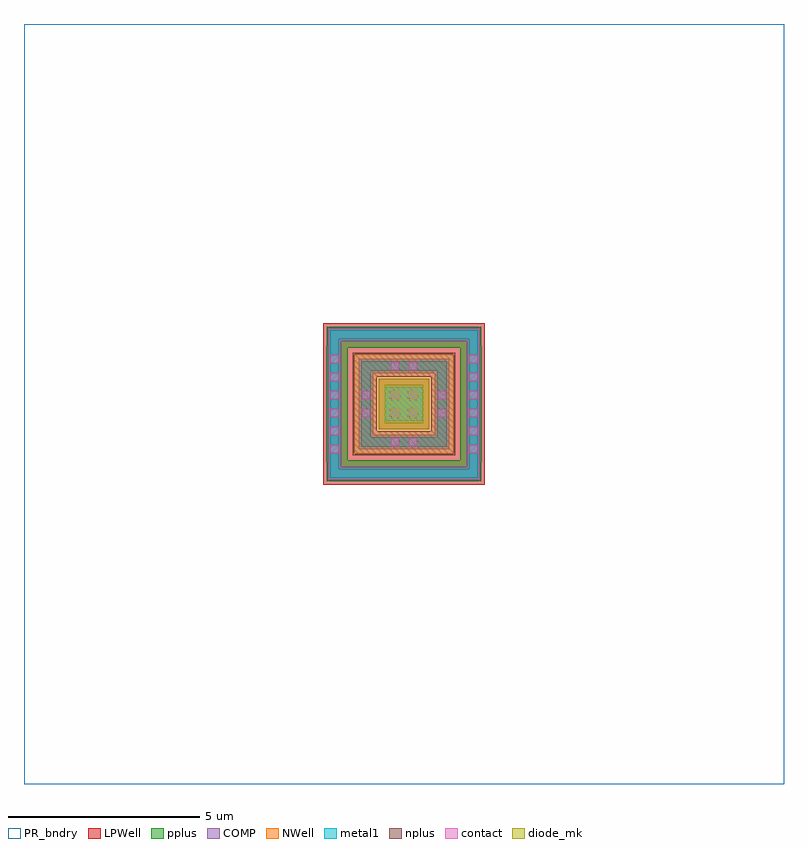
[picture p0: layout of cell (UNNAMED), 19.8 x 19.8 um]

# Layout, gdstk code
import gdstk
lib = gdstk.Library(unit=1e-6, precision=1e-09)
def R(c, l, rs):  # rectangles x0, y0, x1, y1
    for r in rs: c.add(gdstk.rectangle(r[:2], r[2:], *l))
def A(c, l, x, y, w, h, nx, ny, dx, dy):  # array of equal rectangles
    R(c, l, [(x+i*dx, y+j*dy, x+i*dx+w, y+j*dy+h) for i in range(nx) for j in range(ny)])
PR_bndry = (0, 0)
NWell = (21, 0)
COMP = (22, 0)
pplus = (31, 0)
nplus = (32, 0)
contact = (33, 0)
metal1 = (34, 0)
diode_mk = (115, 5)
LPWell = (204, 0)

c__unnamed_ = lib.new_cell('(UNNAMED)')
R(c__unnamed_, PR_bndry, [(-9.9,-9.9,9.9,9.9)])
R(c__unnamed_, NWell, [(-1.3,-1.3,1.3,1.3)])
R(c__unnamed_, COMP, [(-1.99,-1.99,1.99,-1.63), (-1.99,-1.63,-1.63,1.63), (1.63,-1.63,1.99,1.63), (-1.18,-1.18,1.18,-0.8), (-1.18,-0.8,-0.8,0.8), (0.8,-0.8,1.18,0.8), (-0.5,-0.5,0.5,0.5), (-1.18,0.8,1.18,1.18), (-1.99,1.63,1.99,1.99)])
R(c__unnamed_, pplus, [(-2.01,-2.01,2.01,-1.505), (-2.02,-1.505,2.02,-1.47), (-2.02,-1.47,-1.47,1.47), (1.47,-1.47,2.02,1.47), (-0.66,-0.66,0.66,0.66), (-2.02,1.47,2.02,1.505), (-2.01,1.505,2.01,2.01)])
R(c__unnamed_, nplus, [(-1.34,-1.34,1.34,-0.71), (-1.34,-0.71,-0.71,0.71), (0.71,-0.71,1.34,0.71), (-1.34,0.71,1.34,1.34)])
A(c__unnamed_, contact, -1.92, -1.285, 0.22, 0.22, 1, 6, 0, 0.47)
A(c__unnamed_, contact, 1.7, -1.285, 0.22, 0.22, 1, 6, 0, 0.47)
R(c__unnamed_, contact, [(-0.345,-1.1,-0.125,-0.88), (0.125,-1.1,0.345,-0.88), (-1.1,-0.345,-0.88,-0.125), (-0.345,-0.345,-0.125,-0.125), (0.125,-0.345,0.345,-0.125), (0.88,-0.345,1.1,-0.125), (-1.1,0.125,-0.88,0.345), (-0.345,0.125,-0.125,0.345), (0.125,0.125,0.345,0.345), (0.88,0.125,1.1,0.345), (-0.345,0.88,-0.125,1.1), (0.125,0.88,0.345,1.1)])
R(c__unnamed_, metal1, [(-1.925,-1.925,1.925,-1.695), (-1.925,-1.695,-1.695,1.695), (1.695,-1.695,1.925,1.695), (-1.115,-1.115,1.115,-0.865), (-1.115,-0.865,-0.865,0.865), (0.865,-0.865,1.115,0.865), (-0.49,-0.435,0.49,0.435), (-1.115,0.865,1.115,1.115), (-1.925,1.695,1.925,1.925)])
R(c__unnamed_, diode_mk, [(-0.5,-0.5,0.5,0.5)])
R(c__unnamed_, LPWell, [(-2.11,-2.11,2.11,-1.3), (-2.11,-1.3,-1.3,1.3), (1.3,-1.3,2.11,1.3), (-2.11,1.3,2.11,2.11)])

lib.write_gds('_UNNAMED_.gds')
